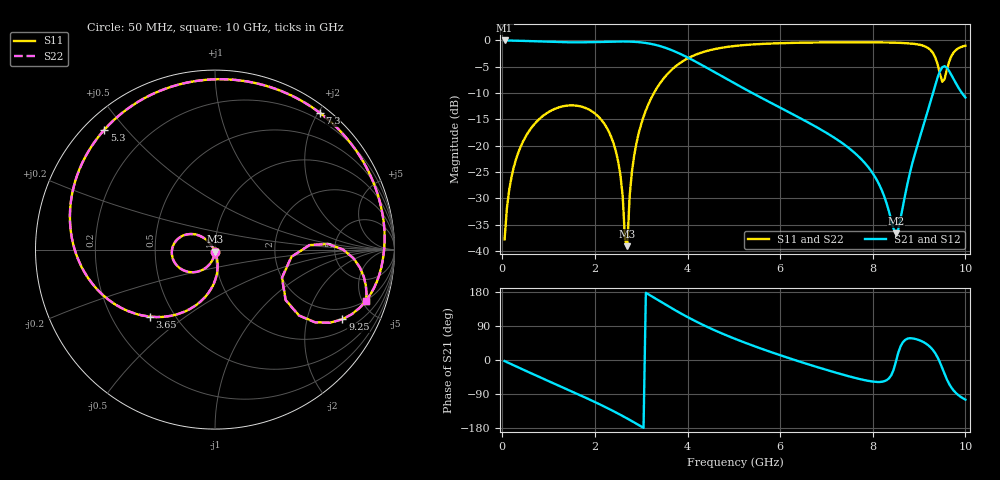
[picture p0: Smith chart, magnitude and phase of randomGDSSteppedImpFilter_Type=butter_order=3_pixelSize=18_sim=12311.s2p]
! freq	dB(S11)	phase(S11)	dB(S12)	phase(S12)
!  dB(S21)	phase(S21)	dB(S22)	phase(S22)
!S-par simulation data
#  GHz  S  DB  R 50
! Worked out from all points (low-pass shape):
!   200 points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, 50 MHz to 10 GHz, reference 50 ohm
!   highest |S21| = -0.01 dB at 50 MHz (marker M1); lowest = -36.6 dB at 8.5 GHz (marker M2)
!   |S21| within 3 dB of the highest: start of sweep to 3.95 GHz
!   lowest |S11| = -39.1 dB at 2.7 GHz (marker M3), VSWR 1.02, Z = 50 - j1.11 ohm
!   |S11| at or under -10 dB: start of sweep to 3.274 GHz
!   |S22| runs from -38.9 to -0.3 dB; largest |S21 - S12| = 0
!   S11 on the Smith chart (normalised r, x): 50 MHz: 1.00, -0.03; 3.65 GHz: 0.36, -0.37; 5.3 GHz: 0.06, +0.44; 7.3 GHz: 0.10, +2.02; 9.25 GHz: 1.47, -3.30; 10 GHz: 1.92, -5.35
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0.05  -37.78 -92.5  -0.01 -2.9  -0.01 -2.9  -37.78 -92.5
0.2  -25.89 -101.5  -0.03 -11.4  -0.03 -11.4  -25.89 -101.5
0.5  -18.34 -118.7  -0.10 -28.2  -0.10 -28.2  -18.34 -118.7
1.75  -12.68 172.9  -0.36 -96.8  -0.36 -96.8  -12.68 172.9
2.4  -19.49 136.2  -0.22 -134.9  -0.22 -134.9  -19.49 136.4
2.55  -25.53 129.2  -0.20 -144.5  -0.20 -144.5  -25.52 129.8
2.7  -39.08 -91.3  -0.21 -154.5  -0.21 -154.5  -38.88 -93.9
2.75  -29.54 -77.6  -0.22 -157.9  -0.22 -157.9  -29.52 -78.6
2.9  -19.38 -82.2  -0.29 -168.3  -0.29 -168.3  -19.38 -82.5
3.4  -8.22 -116.5  -1.06 155.3  -1.06 155.3  -8.22 -116.6
3.65  -5.64 -134.3  -1.82 137.2  -1.82 137.2  -5.64 -134.4
4.35  -2.17 -179.3  -4.87 91.7  -4.87 91.7  -2.17 -179.3
5.05  -1.03 144.3  -8.32 54.7  -8.32 54.7  -1.02 144.2
5.3  -0.83 132.7  -9.52 42.9  -9.52 42.9  -0.83 132.7
6.7  -0.40 75.2  -16.04 -15.0  -16.04 -15.0  -0.40 75.2
7.3  -0.35 52.6  -19.25 -36.8  -19.25 -36.8  -0.35 52.5
8.35  -0.40 13.8  -32.49 -48.5  -32.49 -48.5  -0.40 13.7
8.5  -0.43 8.1  -36.60 -4.3  -36.60 -4.3  -0.43 8.0
9.25  -1.84 -28.7  -11.51 33.1  -11.51 33.1  -1.84 -28.7
9.5  -7.85 -22.8  -5.09 -21.3  -5.09 -21.3  -7.87 -22.8
9.65  -3.99 2.8  -5.83 -63.3  -5.83 -63.3  -4.00 2.9
10  -1.01 -18.9  -10.84 -104.5  -10.84 -104.5  -1.01 -18.9
